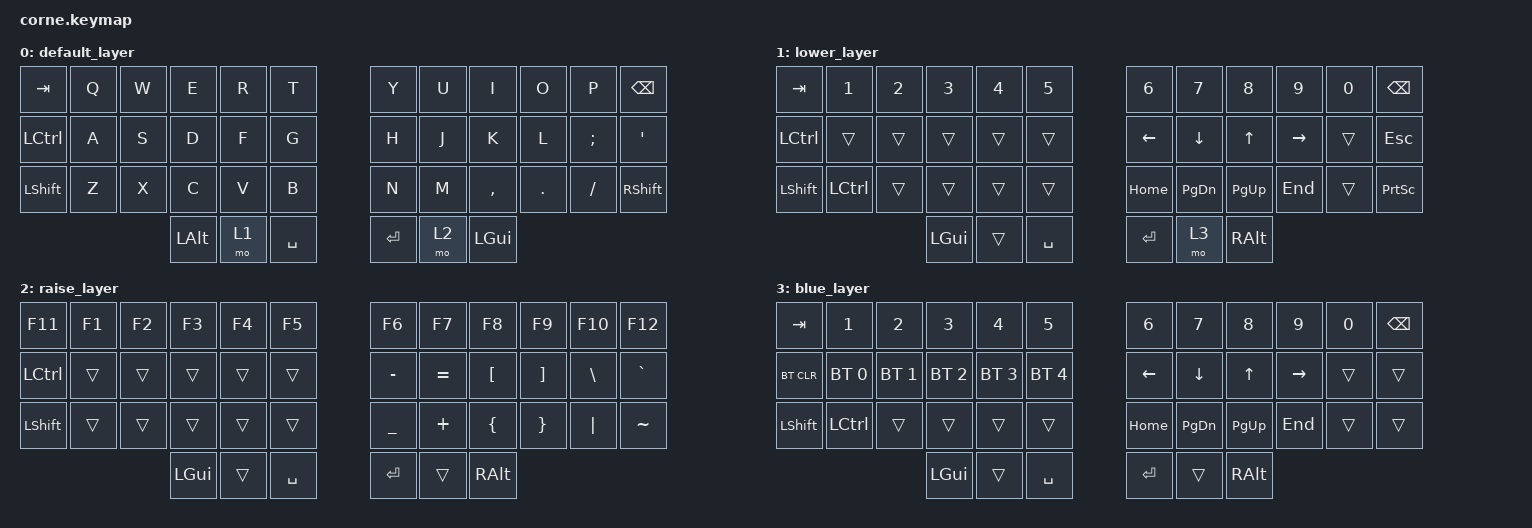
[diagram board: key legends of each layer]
/*
 * Copyright (c) 2020 The ZMK Contributors
 *
 * SPDX-License-Identifier: MIT
 */

#include <behaviors.dtsi>
#include <dt-bindings/zmk/keys.h>
#include <dt-bindings/zmk/bt.h>

/ {
        keymap {
                compatible = "zmk,keymap";

                default_layer {
// -----------------------------------------------------------------------------------------
// |  TAB |  Q  |  W  |  E  |  R  |  T  |   |  Y  |  U   |  I  |  O  |  P  | BSPC |
// | SHFT |  A  |  S  |  D  |  F  |  G  |   |  H  |  J   |  K  |  L  |  ;  |  '   |
// | CTRL |  Z  |  X  |  C  |  V  |  B  |   |  N  |  M   |  ,  |  .  |  /  | SHFT  |
//                    | LALT | LWR | SPC |   | ENT | RSE  | GUI|
                        bindings = <
   &kp TAB   &kp Q &kp W   &kp E &kp R &kp T   &kp Y &kp U  &kp I     &kp O   &kp P    &kp BSPC
   &kp LCTRL &kp A &kp S   &kp D &kp F &kp G   &kp H &kp J  &kp K     &kp L   &kp SEMI &kp SQT
   &kp LSHFT &kp Z &kp X   &kp C &kp V &kp B   &kp N &kp M  &kp COMMA &kp DOT &kp FSLH &kp RSHFT
                  &kp LALT &mo 1 &kp SPACE   &kp RET &mo 2 &kp LGUI
                        >;
                };
                lower_layer {
// -----------------------------------------------------------------------------------------
// |  TAB |  1  |  2  |  3  |  4  |  5  |   |  6  |  7  |  8  |  9  |  0  | BSPC  |
// | SHFT |     |     |     |     |     |   | LFT | DWN |  UP | RGT |     |  ESC  |
// | CTRL |     |     |     |     |     |   | HOME| PGDN| PGUP| END |     | PSCRN |
//                     | GUI |     | SPC |   | ENT |     | ALT |
                        bindings = <
   &kp TAB    &kp N1       &kp N2       &kp N3       &kp N4       &kp N5         &kp N6   &kp N7    &kp N8     &kp N9    &kp N0 &kp BSPC
   &kp LCTRL  &trans       &trans       &trans       &trans       &trans         &kp LEFT &kp DOWN  &kp UP     &kp RIGHT &trans &kp ESC
   &kp LSHFT  &kp LCTRL    &trans       &trans       &trans       &trans         &kp HOME &kp PG_DN &kp PG_UP  &kp END   &trans &kp PSCRN
                           &kp LGUI     &trans       &kp SPACE    &kp RET        &mo 3    &kp RALT
                        >;
                };

                raise_layer {
// -----------------------------------------------------------------------------------------
// |  F11 |  F1 | F2  | F3  | F4  | F5  |   | F6  | F7  | F8  | F9  | F10 | F12 |
// | CTRL |     |     |     |     |     |   |  -  |  =  |  [  |  ]  |  \  |  `  |
// | SHFT |     |     |     |     |     |   |  _  |  +  |  {  |  }  | "|" |  ~  |
//                    | GUI |     | SPC |   | ENT |     | ALT |
                        bindings = <
   &kp  F11  &kp F1   &kp F2 &kp F3   &kp F4   &kp F5      &kp F6    &kp F7    &kp F8    &kp F9   &kp F10  &kp F12
   &kp LCTRL &trans   &trans &trans   &trans   &trans      &kp MINUS &kp EQUAL &kp LBKT  &kp RBKT &kp BSLH &kp GRAVE
   &kp LSHFT &trans   &trans &trans   &trans   &trans      &kp UNDER &kp PLUS  &kp LBRC  &kp RBRC &kp PIPE &kp TILDE
                             &kp LGUI &trans   &kp SPACE   &kp RET   &trans    &kp RALT
                        >;
                };
                
                blue_layer {
// -----------------------------------------------------------------------------------------
// |  TAB |  1   |  2  |  3  |  4  |  5  |   |  6  |  7  |  8  |  9  |  0  | BSPC |
// | BTCLR| BT1  | BT2 | BT3 | BT4 | BT5 |   | LFT | DWN |  UP | RGT |     |      |
// | SHFT | CTRL |     |     |     |     |   | HOME| PGDN| PGUP| END |     |      |
//                    | GUI |     | SPC |   | ENT |     | ALT |
                        bindings = <
   &kp TAB    &kp N1       &kp N2       &kp N3       &kp N4       &kp N5         &kp N6   &kp N7    &kp N8     &kp N9    &kp N0 &kp BSPC
   &bt BT_CLR &bt BT_SEL 0 &bt BT_SEL 1 &bt BT_SEL 2 &bt BT_SEL 3 &bt BT_SEL 4   &kp LEFT &kp DOWN  &kp UP     &kp RIGHT &trans &trans
   &kp LSHFT  &kp LCTRL    &trans       &trans       &trans       &trans         &kp HOME &kp PG_DN &kp PG_UP  &kp END   &trans &trans
                                    &kp LGUI     &trans       &kp SPACE      &kp RET  &trans   &kp RALT
                        >;
                };
        };
};
